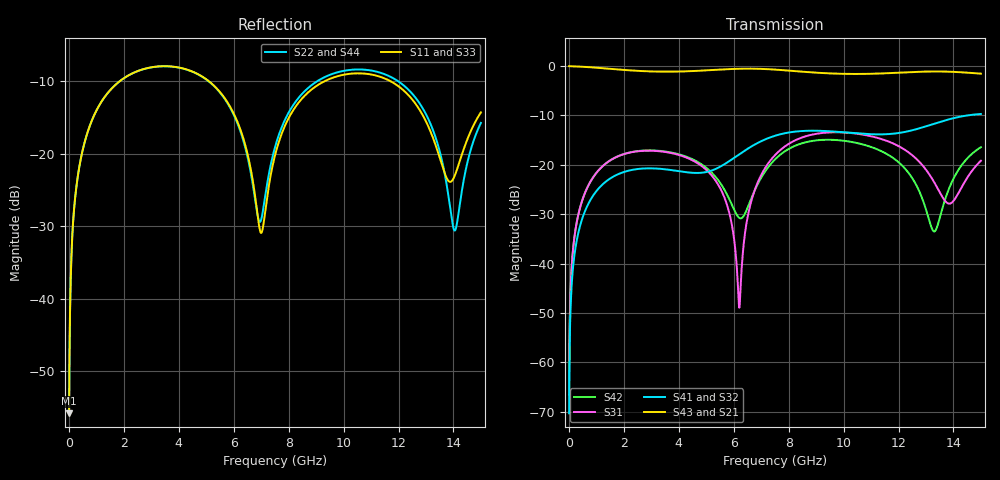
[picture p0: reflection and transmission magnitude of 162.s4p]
! Created with skrf 1.8.0 (http://scikit-rf.org).
# GHz S RI R 50.0
!freq ReS11 ImS11 ReS12 ImS12 ReS13 ImS13
! ReS14 ImS14
! ReS21 ImS21 ReS22 ImS22 ReS23 ImS23
! ReS24 ImS24
! ReS31 ImS31 ReS32 ImS32 ReS33 ImS33
! ReS34 ImS34
! ReS41 ImS41 ReS42 ImS42 ReS43 ImS43
! ReS44 ImS44
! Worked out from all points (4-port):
!   2499 points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, 5 MHz to 15 GHz, reference 50 ohm
!   strongest paths, dB at 5 MHz, 3.476 GHz, 7.19 GHz, 11.1 GHz, 15 GHz:
!     S43: 0.0, -1.1, -0.6, -1.5, -1.5
!     S21: 0.0, -1.1, -0.6, -1.5, -1.5
!     S41: -70.4, -20.9, -14.7, -13.8, -9.7
!     S32: -70.4, -20.9, -14.7, -13.9, -9.7
!     S31: -66.6, -17.4, -20.2, -14.3, -19.2
!     S42: -66.6, -17.3, -21.0, -16.6, -16.4
!   lowest |S11| = -55.8 dB at 5 MHz (marker M1), VSWR 1.00, Z = 50.1 + j0.0993 ohm
!   |S11| at or under -10 dB: start of sweep to 1.851 GHz; 5.091 GHz to 9.314 GHz (4.223 GHz wide, 58.6 % of centre); 11.7 GHz to end of sweep
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0.005  0.00129 0.00099  0.9987 -0.00252  6.22e-05 0.000463  -6.08e-05 -0.000297
       0.9987 -0.00252  0.00129 0.00099  -6.08e-05 -0.000297  6.23e-05 0.000463
       6.22e-05 0.000463  -6.08e-05 -0.000297  0.00129 0.00099  0.9987 -0.00252
       -6.08e-05 -0.000297  6.23e-05 0.000463  0.9987 -0.00252  0.00129 0.00099
0.3626511  0.02 0.0759  0.9726 -0.1819  0.00841 0.0322  -0.00711 -0.0205
           0.9726 -0.1819  0.02 0.0758  -0.00711 -0.0205  0.00848 0.0322
           0.00841 0.0322  -0.00711 -0.0205  0.02 0.0759  0.9726 -0.1819
           -0.00711 -0.0205  0.00848 0.0322  0.9726 -0.1819  0.02 0.0759
1.875782  0.257 0.1886  0.5815 -0.7133  0.1102 0.0587  -0.0814 -0.0113
          0.5815 -0.7133  0.2569 0.1886  -0.0813 -0.0115  0.1114 0.0572
          0.1102 0.0587  -0.0813 -0.0115  0.2571 0.1886  0.5815 -0.7133
          -0.0814 -0.0113  0.1114 0.0572  0.5815 -0.7133  0.2568 0.1887
6.202584  0.0756 -0.134  -0.8577 -0.3852  0.00351 0.000618  -0.0472 0.1188
          -0.8577 -0.3852  0.0774 -0.1285  -0.0497 0.1178  -0.0261 -0.0124
          0.00351 0.000618  -0.0497 0.1178  0.0752 -0.1344  -0.8576 -0.3854
          -0.0472 0.1188  -0.0261 -0.0124  -0.8576 -0.3854  0.078 -0.1284
6.927887  0.028 -0.0143  -0.9367 -0.0661  0.022 0.0683  -0.00638 0.1694
          -0.9367 -0.0661  0.0336 -0.00626  -0.0097 0.1693  -0.0199 0.0652
          0.022 0.0683  -0.0097 0.1693  0.0278 -0.0146  -0.9367 -0.0664
          -0.00638 0.1694  -0.0199 0.0652  -0.9367 -0.0664  0.034 -0.00694
11.0421  0.3457 -0.056  0.0965 0.8303  0.1358 -0.1379  0.1824 -0.0913
         0.0965 0.8303  0.3621 -0.0899  0.1829 -0.0835  0.141 -0.0519
         0.1358 -0.1379  0.1829 -0.0835  0.3444 -0.0595  0.0966 0.8312
         0.1824 -0.0913  0.141 -0.0519  0.0966 0.8312  0.3591 -0.0866
15  0.1426 0.1294  0.7892 -0.2838  0.081 0.0744  -0.1465 -0.2929
    0.7892 -0.2838  0.1022 0.127  -0.1329 -0.2987  0.1302 0.076
    0.081 0.0744  -0.1329 -0.2987  0.1403 0.1345  0.7888 -0.2841
    -0.1465 -0.2929  0.1302 0.076  0.7888 -0.2841  0.1051 0.1264
